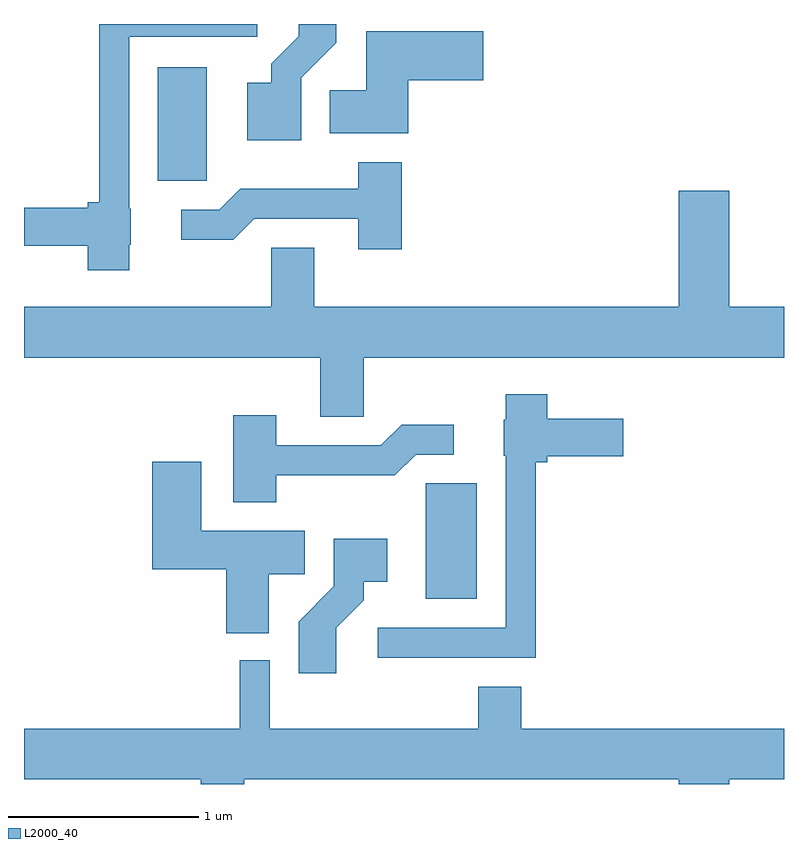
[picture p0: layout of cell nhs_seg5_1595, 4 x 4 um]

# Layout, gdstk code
import gdstk
lib = gdstk.Library(unit=1e-6, precision=1e-09)
def R(c, l, rs):  # rectangles x0, y0, x1, y1
    for r in rs: c.add(gdstk.rectangle(r[:2], r[2:], *l))
def P(c, l, *ps):  # polygons
    for p in ps: c.add(gdstk.Polygon(p, *l))
L2000_40 = (2000, 40)

nhs_seg5_1595 = lib.new_cell('nhs_seg5_1595')
R(nhs_seg5_1595, L2000_40, [(233.726,1491.046,233.994,1491.654), (232.316,1493.246,232.574,1493.844)])
P(nhs_seg5_1595, L2000_40, [(233.069,1493.789),(233.254,1493.974),(233.254,1494.072),(233.056,1494.072),(233.056,1494.007),(232.911,1493.862),(232.911,1493.764),(232.786,1493.764),(232.786,1493.461),(233.069,1493.461)],
  [(232.164,1492.91),(232.174,1492.91),(232.174,1493.1),(232.164,1493.1),(232.164,1494.006),(232.838,1494.006),(232.838,1494.072),(232.006,1494.072),(232.006,1493.134),(231.946,1493.134),(231.946,1493.104),(231.611,1493.104),(231.611,1492.906),(231.946,1492.906),(231.946,1492.776),(232.164,1492.776)],
  [(233.634,1493.776),(234.029,1493.776),(234.029,1494.034),(233.411,1494.034),(233.411,1493.724),(233.221,1493.724),(233.221,1493.496),(233.634,1493.496)],
  [(233.599,1493.344),(233.371,1493.344),(233.371,1493.204),(232.749,1493.204),(232.639,1493.094),(232.438,1493.094),(232.438,1492.936),(232.712,1492.936),(232.822,1493.046),(233.371,1493.046),(233.371,1492.886),(233.599,1492.886)],
  [(233.139,1492.894),(232.911,1492.894),(232.911,1492.584),(231.611,1492.584),(231.611,1492.316),(233.171,1492.316),(233.171,1492.006),(233.399,1492.006),(233.399,1492.316),(235.611,1492.316),(235.611,1492.584),(235.324,1492.584),(235.324,1493.194),(235.056,1493.194),(235.056,1492.584),(233.139,1492.584)],
  [(234.304,1491.766),(234.364,1491.766),(234.364,1491.796),(234.764,1491.796),(234.764,1491.994),(234.364,1491.994),(234.364,1492.124),(234.146,1492.124),(234.146,1491.99),(234.136,1491.99),(234.136,1491.8),(234.146,1491.8),(234.146,1490.894),(233.473,1490.894),(233.473,1490.736),(234.304,1490.736)],
  [(232.939,1491.696),(233.562,1491.696),(233.672,1491.806),(233.873,1491.806),(233.873,1491.964),(233.599,1491.964),(233.489,1491.854),(232.939,1491.854),(232.939,1492.014),(232.711,1492.014),(232.711,1491.556),(232.939,1491.556)],
  [(232.899,1491.176),(233.089,1491.176),(233.089,1491.404),(232.544,1491.404),(232.544,1491.769),(232.286,1491.769),(232.286,1491.201),(232.676,1491.201),(232.676,1490.866),(232.899,1490.866)],
  [(233.254,1490.894),(233.399,1491.039),(233.399,1491.136),(233.524,1491.136),(233.524,1491.364),(233.241,1491.364),(233.241,1491.112),(233.056,1490.927),(233.056,1490.656),(233.254,1490.656)],
  [(232.769,1490.096),(235.056,1490.096),(235.056,1490.072),(235.324,1490.072),(235.324,1490.096),(235.611,1490.096),(235.611,1490.364),(234.229,1490.364),(234.229,1490.584),(234.001,1490.584),(234.001,1490.364),(232.904,1490.364),(232.904,1490.723),(232.746,1490.723),(232.746,1490.364),(231.611,1490.364),(231.611,1490.096),(232.541,1490.096),(232.541,1490.072),(232.769,1490.072)])

lib.write_gds('nhs_seg5_1595.gds')
